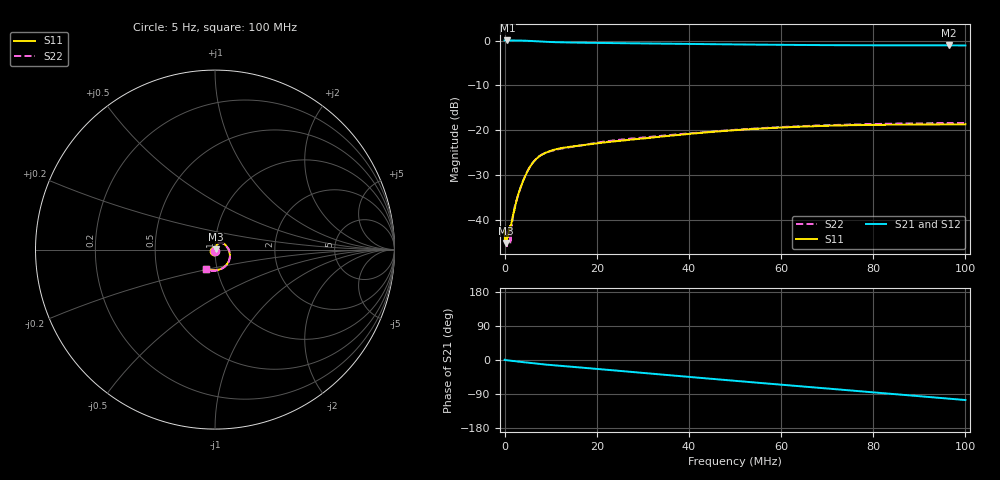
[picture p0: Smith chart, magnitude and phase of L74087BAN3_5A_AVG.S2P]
!Agilent Technologies,E5061B,MY49102235,A.02.00
!Date: Tue Jul 11 15:15:46 2023
!Data & Calibration Information:
!Freq	S11:SOLT2(ON)	S21:SOLT2(ON)	S12:SOLT2(ON)	S22:SOLT2(ON)
# Hz S RI R 50
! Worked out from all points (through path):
!   1600 points, 5 Hz to 100 MHz, reference 50 ohm
!   highest |S21| = 0.02 dB at 625.4 kHz (marker M1); lowest = -1.1 dB at 96.44 MHz (marker M2)
!   group delay of S21, straight-line fit = 2.87 ns
!   lowest |S11| = -45.1 dB at 250.2 kHz (marker M3), VSWR 1.01, Z = 50.5 + j0.159 ohm
!   |S11| at or under -10 dB: start of sweep to end of sweep
!   |S22| runs from -45.8 to -18.4 dB; largest |S21 - S12| = 0.0026
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5  -0.00522 -0.00565  1.002 0.00797  1 0.0102  -0.00148 -0.00755
250161.3  0.00532 0.00157  1 -0.00486  1.001 -0.00487  0.00729 -0.000305
625395.8  0.00522 0.00374  1.002 -0.0148  1.002 -0.0144  0.00624 0.00333
938091.3  0.00466 0.00614  1.001 -0.0214  1.001 -0.0213  0.00622 0.00555
1313326  0.00503 0.00698  1.001 -0.0306  1.001 -0.0308  0.00321 0.00543
1688560  0.00464 0.00914  0.9998 -0.041  1.001 -0.0412  0.00436 0.00831
2063795  0.00427 0.0122  1 -0.0506  0.9995 -0.0511  0.00469 0.012
2376490  0.00483 0.014  0.9984 -0.0583  0.9988 -0.0585  0.00546 0.0143
2939342  0.0067 0.0178  0.9971 -0.0727  0.9968 -0.0727  0.00566 0.0182
3439655  0.00801 0.0214  0.9951 -0.0853  0.9953 -0.0854  0.00688 0.0217
4878054  0.0147 0.0309  0.9868 -0.1222  0.9865 -0.1221  0.0142 0.0313
6253913  0.025 0.0367  0.9735 -0.1541  0.9734 -0.1539  0.0244 0.0372
7879930  0.0372 0.0371  0.9567 -0.1853  0.9565 -0.1853  0.0371 0.0377
9881180  0.0487 0.0328  0.9388 -0.2186  0.9384 -0.2184  0.048 0.033
1.669794e7  0.066 0.0156  0.8881 -0.324  0.888 -0.3238  0.0659 0.0155
2.332708e7  0.0747 0.00237  0.8353 -0.4253  0.835 -0.4251  0.0766 0.00104
3.333334e7  0.0818 -0.0202  0.733 -0.5641  0.7329 -0.5638  0.0832 -0.0218
5.003127e7  0.0768 -0.0644  0.52 -0.7413  0.5199 -0.7411  0.0768 -0.066
6.672921e7  0.0429 -0.1021  0.2767 -0.8469  0.277 -0.8468  0.0437 -0.1034
8.33646e7  -0.00355 -0.1152  0.0206 -0.8839  0.0206 -0.884  -0.00342 -0.1181
9.643527e7  -0.0401 -0.1092  -0.1832 -0.8632  -0.1831 -0.8633  -0.0407 -0.1128
1e8  -0.0495 -0.1055  -0.238 -0.8499  -0.2379 -0.8499  -0.0498 -0.109
